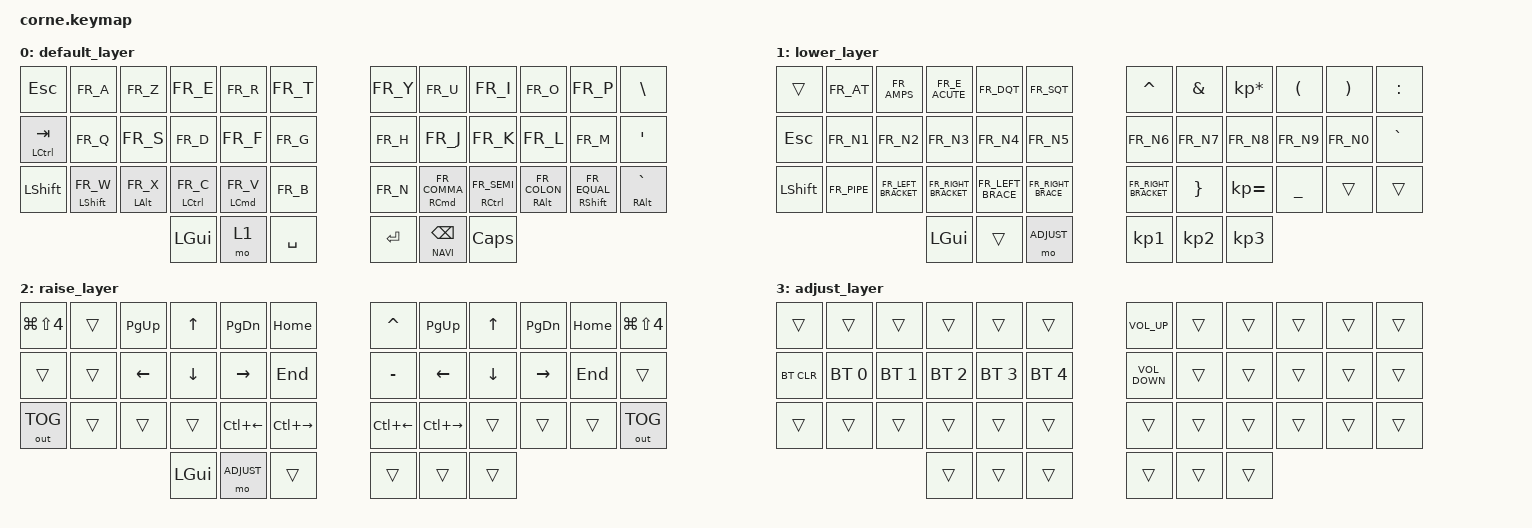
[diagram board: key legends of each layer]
/*
 * Copyright (c) 2020 The ZMK Contributors
 *
 * SPDX-License-Identifier: MIT
 * To use home rows - &hm LSHFT F
 */

#include <behaviors.dtsi>
#include <dt-bindings/zmk/keys.h>
#include <dt-bindings/zmk/bt.h>
#include <dt-bindings/zmk/outputs.h>
#include "fr-2-mac.h"

#define QWERTY 0
#define NUMB 1
#define NAVI 2
#define ADJUST 3

/ {

    behaviors {        
        hm: homerow_mods {
        compatible = "zmk,behavior-hold-tap";
        label = "HOMEROW_MODS";
        #binding-cells = <2>;
        tapping-term-ms = <150>;
        quick_tap_ms = <0>;
        flavor = "tap-preferred";
        bindings = <&kp>, <&kp>;
        };
    };

        keymap {
                compatible = "zmk,keymap";

                default_layer {
// .--------------------------------------------------------------.       .-----------------------------------------------------------.
// |   ESC        |    A    |    Z   |   E    |    R    |    T    |       |   Y   |    U    |    I    |    O    |     P    |    \     |
// |--------------+---------+--------+--------+---------+---------|       |-------+---------+---------+---------+----------+----------|
// |   CTRL/Tab   |    Q    |    S   |   D    |    F    |    G    |       |   H   |    J    |    K    |    L    |     M    |     '    |
// |--------------+---------+--------+--------+---------+---------|       |-------+---------+---------+---------+----------+----------|
// |   SHFT       |    W    |    X   |   C    |    V    |    B    |       |   N   |    ,    |    ;    |    :    |     =    | ` | ALT  |
// '---------------------------------+--------+---------+---------+       |-------+---------+---------+-------------------------------'
//                                   |  GUI   |   MO1   |   ENT   |       |  SPC  |   BKSP  |  CAPS   |
//                                   '--------+---------+---------'       '-------+---------+---------'
                        bindings = <
   &kp ESC        &kp FR_A       &kp FR_Z      &kp FR_E         &kp FR_R           &kp FR_T   &kp FR_Y  &kp FR_U           &kp FR_I             &kp FR_O          &kp FR_P              &kp BACKSLASH
   &mt LCTRL TAB  &kp FR_Q       &kp FR_S      &kp FR_D         &kp FR_F           &kp FR_G   &kp FR_H  &kp FR_J           &kp FR_K             &kp FR_L          &kp FR_M              &kp SQT
   &kp LSHFT      &hm LSHFT FR_W &hm LALT FR_X &hm LCTRL FR_C   &hm LCMD FR_V      &kp FR_B   &kp FR_N  &hm RCMD FR_COMMA  &hm RCTRL FR_SEMI    &hm RALT FR_COLON &hm RSHFT FR_EQUAL    &mt RALT GRAVE
                                                                                                        
                  &kp LGUI    &mo 1   &kp SPACE     &kp RET       &lt NAVI BSPC    &kp CAPSLOCK 
                        >;
                };
        
                lower_layer {
// .--------------------------------------------------------------.       .-----------------------------------------------------------.
// |   ESC        |    1    |    2   |   3    |    4    |    5    |       |   6   |    7    |    8    |    9    |     0    |    `     |
// |--------------+---------+--------+--------+---------+---------|       |-------+---------+---------+---------+----------+----------|
// |              |    !    |    @   |   #    |    $    |    %    |       |   ^   |    &    |    *    |    (    |     )    |     :    |
// |--------------+---------+--------+--------+---------+---------|       |-------+---------+---------+---------+----------+----------|
// |   SHFT       |    |    |    [   |   ]    |    {    |    }    |       |   ]   |    }    |    =    |    _    |          |          |
// '---------------------------------+--------+---------+---------+       |-------+---------+---------+-------------------------------'
//                                   |  GUI   |         |   MO3   |       |   ,   |    .    |   ?     |
//                                   '--------+---------+---------'       '-------+---------+---------'
                        bindings = <
   &trans     &kp FR_AT    &kp FR_AMPS         &kp FR_E_ACUTE           &kp FR_DQT           &kp FR_SQT                        &kp CARET                &kp AMPS                   &kp KP_MULTIPLY        &kp LPAR                 &kp RPAR   &kp COLON
   &kp ESC    &kp FR_N1    &kp FR_N2           &kp FR_N3                &kp FR_N4            &kp FR_N5                        &kp FR_N6                &kp FR_N7                  &kp FR_N8              &kp FR_N9                &kp FR_N0  &kp GRAVE
   &kp LSHFT  &kp FR_PIPE  &kp FR_LEFT_BRACKET &kp FR_RIGHT_BRACKET     &kp FR_LEFT_BRACE    &kp FR_RIGHT_BRACE               &kp FR_RIGHT_BRACKET     &kp RIGHT_BRACE            &kp KP_EQUAL           &kp UNDERSCORE           &trans     &trans
                                        &kp LGUI           &trans               &mo ADJUST           &kp KP_N1                &kp KP_N2                  &kp KP_N3
                        >;
                };
                
                raise_layer {
// .----------------------------------------------------------------.       .-----------------------------------------------------------------.
// |   CMD+SHIFT+4  |       |   PU   |   UP   |    PD    |   HOME   |       |  HOME   |    PU    |    UP   |   PD    |          | CMD+SHIFT+4 |
// |----------------+-------+--------+--------+----------+----------|       |---------+----------+---------+---------+----------+-------------|
// |                |       |  LEFT  |  DOWN  |   RIGHT  |   END    |       |  END    |   LEFT   |   DOWN  |  RIGHT  |          |             |
// |----------------+-------+--------+--------+----------+----------|       |---------+----------+---------+---------+----------+-------------|
// |     OUT_TOG    |       |        |        |CTRL+LEFT |CTRL+RIGHT|       |CTRL+LEFT|CTRL+RIGHT|         |         |          |   OUT_TOG   |
// '---------------------------------+--------+----------+----------+       |---------+----------+---------+----------------------------------'
//                                   |  GUI   |   MO3    |          |       |         |          |         |
//                                   '--------+----------+----------'       '---------+----------+---------'

                        bindings = <
   &kp LG(LS(N4))  &trans     &kp PAGE_UP        &kp UP_ARROW      &kp PAGE_DOWN       &kp HOME                &kp CARET            &kp PAGE_UP             &kp UP_ARROW       &kp PAGE_DOWN      &kp HOME     &kp LG(LS(N4))
   &trans          &trans     &kp LEFT_ARROW     &kp DOWN_ARROW    &kp RIGHT_ARROW     &kp END                 &kp MINUS            &kp LEFT_ARROW          &kp DOWN_ARROW     &kp RIGHT_ARROW    &kp END      &trans
   &out OUT_TOG    &trans     &trans             &trans            &kp LC(LEFT_ARROW)  &kp LC(RIGHT_ARROW)     &kp LC(LEFT_ARROW)   &kp LC(RIGHT_ARROW)     &trans             &trans             &trans       &out OUT_TOG
                              &kp LGUI           &mo ADJUST        &trans              &trans     &trans   &trans
                        >;
                };

                adjust_layer {
// .--------------------------------------------------------.       .--------------------------------------------------------------.
// |         |        |        |        |         |         |       |  VOL+  |        |         |         |          |             |
// |---------+--------+--------+--------+---------+---------|       |--------+--------+---------+---------+----------+-------------|
// |  BTCLR  |  BT1   |  BT2   |  BT3   |  BT4    |  BT5    |       |  VOL-  |        |         |         |          |             |
// |---------+--------+--------+--------+---------+---------|       |--------+--------+---------+---------+----------+-------------|
// |         |        |        |        |         |         |       |        |        |         |         |          |             |
// '---------------------------+--------+---------+---------+       |--------+--------+---------+----------------------------------'
//                             |        |         |         |       |        |        |         |
//                             '--------+---------+---------'       '--------+--------+---------'

                        bindings = <
   &trans      &trans          &trans         &trans          &trans          &trans            &kp C_VOLUME_UP    &trans &trans &trans &trans &trans
   &bt BT_CLR  &bt BT_SEL 0    &bt BT_SEL 1   &bt BT_SEL 2    &bt BT_SEL 3    &bt BT_SEL 4      &kp C_VOLUME_DOWN  &trans &trans &trans &trans &trans
   &trans      &trans          &trans         &trans          &trans          &trans            &trans             &trans &trans &trans &trans &trans
                                   &trans &trans &trans   &trans &trans &trans
                        >;
                };
        };
};
